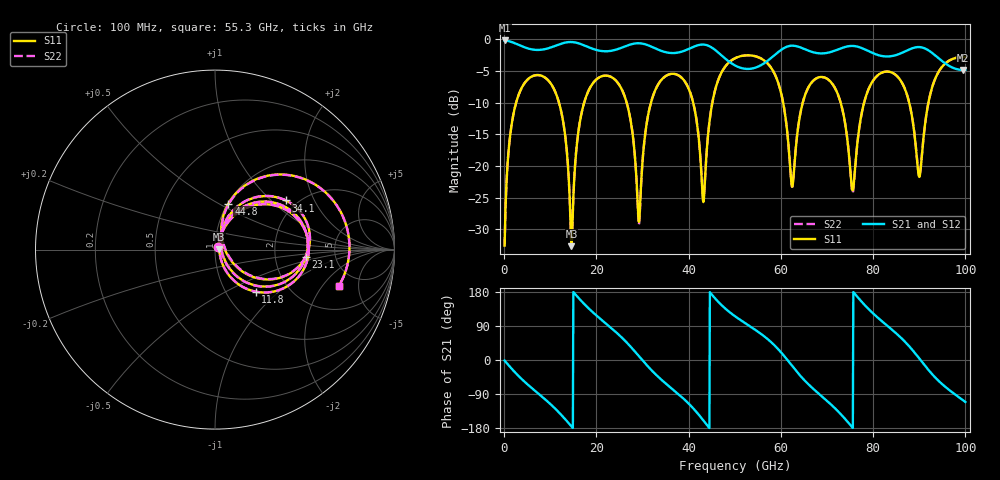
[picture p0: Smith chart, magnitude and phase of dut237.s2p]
! Touchstone file exported from HFSS 2026.1.0
!  File:  C:/ffzhzh/LocalFiles/Ansys_Project_Files/temp_train_TSV_RDL_237_1783666445_29156.aedt
!  Generated:  03:06:50 PM Jul 10, 2026
!  Design:  TSV_RDL
!  Project:  temp_train_TSV_RDL_237_1783666445_29156
! Variables:
!  h_bsmrdl = 3.98um
!  h_ox = 20um
!  h_rdl = 5um
!  h_sub = 77.54um
!  h_tmrdl = 3.83um
!  h_tsv = 77.54um
!  h_via = 3um
!  l_bsmrdl = 325.61um
!  l_sub = 4043.74um
!  l_tmrdl = 636.9um
!  m_sub = 200um
!  pitch = 45.4um
!  r_tsv = 7.17um
!  s_tmrdl = 10um
!  w_bsmrdl = 20.73um
!  w_sub = 500um
!  w_tmrdl = 19.04um
!  x_tsv_center1 = 646.42um
!  x_tsv_center2 = 992.76um
!  x_tsv_center3 = 1648.7um
!  x_tsv_center4 = 1995.04um
!  x_tsv_center5 = 2650.98um
!  x_tsv_center6 = 2997.32um
# GHz S MA R 50.000000
! Terminal data exported
! Port[1] = TM_RDL1_1_T1
! Port[2] = TM_RDL5_1_T1
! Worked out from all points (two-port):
!   1000 points, 100 MHz to 100 GHz, reference 50 ohm
!   highest |S21| = -0.16 dB at 100 MHz (marker M1); lowest = -4.8 dB at 99.5 GHz (marker M2)
!   |S21| within 3 dB of the highest: start of sweep to 48.16 GHz; 57.49 GHz to 94.51 GHz (37.02 GHz wide, 48.7 % of centre)
!   lowest |S11| = -32.6 dB at 14.6 GHz (marker M3), VSWR 1.05, Z = 52.4 + j0.107 ohm
!   |S11| at or under -10 dB: 11.9 GHz to 17.34 GHz (5.438 GHz wide, 37.2 % of centre); 26.57 GHz to 31.82 GHz (5.252 GHz wide, 18 % of centre); 72.96 GHz to 78.03 GHz (5.069 GHz wide, 6.71 % of centre) (the widest 3 of 7)
!   |S22| runs from -32.6 to -2.5 dB; largest |S21 - S12| = 1.5e-13
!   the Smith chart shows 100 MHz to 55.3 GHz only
!   S11 on the Smith chart (normalised r, x): 100 MHz: 1.04, +0.03; 11.8 GHz: 1.37, -0.72; 23.1 GHz: 3.02, -0.34; 34.1 GHz: 1.74, +1.24; 44.8 GHz: 1.01, +0.56; 55.3 GHz: 3.53, -2.95
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0.1  0.02354 37.5  0.9816 -1.5  0.9816 -1.5  0.02354 37.5
! Gamma 0 0 0 0
! Port Impedance 50 0 50 0
3.5  0.3933 39.7  0.8945 -46.7  0.8945 -46.7  0.3933 39.7
11.8  0.3254 -46.0  0.9105 -137.4  0.9105 -137.4  0.3254 -46.0
14.6  0.02333 2.5  0.9539 -175.2  0.9539 -175.2  0.02392 2.6
16.8  0.2642 58.9  0.9141 154.9  0.9141 154.9  0.2643 58.7
23.1  0.5074 -4.7  0.8122 85.7  0.8122 85.7  0.5075 -4.8
29.2  0.03629 4.8  0.9331 10.4  0.9331 10.4  0.03448 4.5
33.4  0.4418 41.8  0.8304 -44.3  0.8304 -44.3  0.4418 42.0
34.1  0.4798 34.8  0.8116 -52.1  0.8116 -52.1  0.4797 35.0
40.1  0.4013 -22.7  0.844 -116.1  0.844 -116.1  0.4015 -22.3
43.2  0.05201 19.8  0.9109 -159.6  0.9109 -159.6  0.05512 19.8
44.8  0.2672 73.7  0.8722 175.9  0.8722 175.9  0.2679 73.0
50.1  0.712 22.9  0.6218 115.0  0.6218 115.0  0.7121 22.7
55.3  0.7188 -16.3  0.6158 72.4  0.6158 72.4  0.7189 -16.5
62.4  0.0688 -20.4  0.8928 -15.2  0.8928 -15.2  0.0688 -20.7
66.7  0.4592 13.4  0.7978 -72.5  0.7978 -72.5  0.4591 13.3
72.3  0.3727 -38.8  0.8313 -134.3  0.8313 -134.3  0.3724 -39.2
75.4  0.0672 -15.1  0.8887 -176.4  0.8887 -176.4  0.06459 -15.8
83.4  0.5565 -3.2  0.7341 87.0  0.7341 87.0  0.5565 -3.1
90.3  0.09472 28.0  0.8687 -0.6  0.8687 -0.6  0.09587 27.5
99.5  0.7273 -17.2  0.5737 -106.3  0.5737 -106.3  0.7274 -17.3
100  0.7267 -21.0  0.5749 -110.9  0.5749 -110.9  0.7268 -21.1
